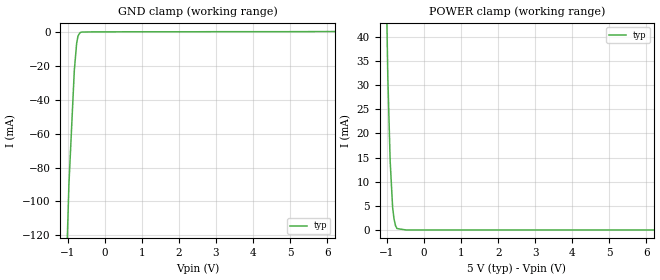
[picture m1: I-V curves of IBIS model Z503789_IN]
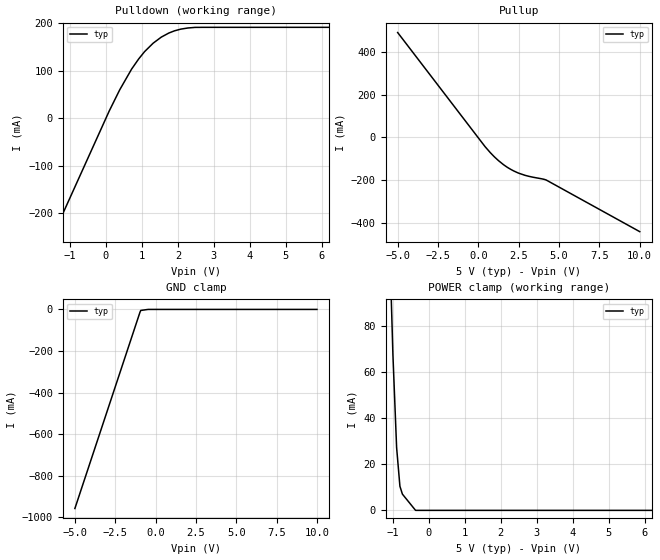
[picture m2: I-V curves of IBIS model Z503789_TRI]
| YOU ARE ONLY AUTHORIZED TO USE THIS SOFTWARE
| ACCORDING TO LICENSOR'S LICENSE RESTRICTIONS.
[IBIS Ver] 3.1
[File Name] mc74ac374n_5.ibs
[File Rev] 2.0
[Source] Measured and created by ICX Technology
[Date] Friday 7/14/00 9:08:00 AM
[Copyright]
| (C) COPYRIGHT 1993-2000
| MENTOR GRAPHICS CORPORATION
| ICX STANDARD LIBRARY, ICX PROJECT MODELING,
| ICX CUSTOM MODELING, ICX VENDOR MODEL
| ALL RIGHTS RESERVED.
| THE FOLLOWING ARE TRADEMARKS OR SERVICE MARKS OF
| MENTOR GRAPHICS CORPORATION:ICX (R), ICX STANDARD
| LIBRARY(R), ICX PROJECT MODELING(R), ICX CUSTOM
| MODELING(R), qualityIBIS(TM), MODELVIEWER(TM),
| AND MODELEDITOR(TM)
| ALL COPIES OF SOFTWARE, INCLUDING BUT NOT LIMITED TO
| ANY MODIFICATIONS, ENHANCEMENTS OR DERIVATIVE WORKS,
| MUST CONTAIN ALL MENTOR GRAPHICS CORPORATION'S
| NOTICES AND LEGENDS, INCLUDING THOSE EMBEDDED IN
| SOFTWARE AND THOSE AFFIXED TO SOFTWARE MEDIUM
| AND CONTAINER, AS RECEIVED FROM MENTOR GRAPHICS
| CORPORATION.
|  ZAP Model Builder 2.7
[Component] MC74AC374N_5
[Manufacturer] OnSemiconductor
[Package]
| variable   typ   min   max
R_pkg  .216ohms NA NA
L_pkg  5.76nH NA NA
C_pkg  1.29pF NA NA
[Pin] signal_name  model_name  R_pin  L_pin C_pin
1 _G Z503789_IN .232 9.76n 1.87p
2 Q0 Z503789_TRI .224 7.26n 1.58p
3 D0 Z503789_IN .216 5.26n 1.29p
4 D1 Z503789_IN .208 3.76n 1.0p
5 Q1 Z503789_TRI .2 2.76n .71p
6 Q2 Z503789_TRI .2 2.76n .71p
7 D2 Z503789_IN .208 3.76n 1.0p
8 D3 Z503789_IN .216 5.26n 1.29p
9 Q3 Z503789_TRI .224 7.26n 1.58p
10 GND GND .232 9.76n 1.87p
11 CLK Z503789_IN .232 9.76n 1.87p
12 Q4 Z503789_TRI .224 7.26n 1.58p
13 D4 Z503789_IN .216 5.26n 1.29p
14 D5 Z503789_IN .208 3.76n 1.0p
15 Q5 Z503789_TRI .2 2.76n .71p
16 Q6 Z503789_TRI .2 2.76n .71p
17 D6 Z503789_IN .208 3.76n 1.0p
18 D7 Z503789_IN .216 5.26n 1.29p
19 Q7 Z503789_TRI .224 7.26n 1.58p
20 VCC POWER .232 9.76n 1.87p
| Models and submodels in the file (2): Z503789_IN (Input), Z503789_TRI (3-state)
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| (C) COPYRIGHT 1993-2000
| MENTOR GRAPHICS CORPORATION
| ICX STANDARD LIBRARY, ICX PROJECT MODELING,
| ICX CUSTOM MODELING, ICX VENDOR MODEL
| ALL RIGHTS RESERVED.
| THE FOLLOWING ARE TRADEMARKS OR SERVICE MARKS OF
| MENTOR GRAPHICS CORPORATION:ICX (R), ICX STANDARD
| LIBRARY(R), ICX PROJECT MODELING(R), ICX CUSTOM
| MODELING(R), qualityIBIS(TM), MODELVIEWER(TM),
| AND MODELEDITOR(TM)
| ALL COPIES OF SOFTWARE, INCLUDING BUT NOT LIMITED TO
| ANY MODIFICATIONS, ENHANCEMENTS OR DERIVATIVE WORKS,
| MUST CONTAIN ALL MENTOR GRAPHICS CORPORATION'S
| NOTICES AND LEGENDS, INCLUDING THOSE EMBEDDED IN
| SOFTWARE AND THOSE AFFIXED TO SOFTWARE MEDIUM
| AND CONTAINER, AS RECEIVED FROM MENTOR GRAPHICS
| CORPORATION.
| Model Application Version 1.89 2/18/99.
[Model] Z503789_IN
Model_type Input
Vinl = 1.500V
Vinh = 3.500V
C_comp 4.000pF NA NA
| variable typ   min   max
[Voltage Range] 5.000V NA NA
[GND Clamp Reference] 0.000V NA NA
[POWER Clamp Reference] 5.000V NA NA
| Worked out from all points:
|   GND clamp passes 1 mA (typ) near -0.69 V on its own axis
|   POWER clamp passes 1 mA (typ) near -0.77 V on its own axis
[GND Clamp]
-5V       -3.904A    NA         NA
-1.039V   -139.7mA   NA         NA
-971.2mV  -89.95mA   NA         NA
-825mV    -22.41mA   NA         NA
-763.2mV  -6.723mA   NA         NA
-729.3mV  -2.567mA   NA         NA
-667.9mV  -263.2uA   NA         NA
-314mV    182.5uA    NA         NA
10V       655.9uA    NA         NA
[POWER Clamp]
-5V       2.931A     NA         NA
-1.445V   283.4mA    NA         NA
-1.128V   98.5mA     NA         NA
-979mV    31.68mA    NA         NA
-916mV    14.29mA    NA         NA
-849mV    4.639mA    NA         NA
-811mV    2.256mA    NA         NA
-770mV    860.3uA    NA         NA
-732mV    295.3uA    NA         NA
-488mV    0A         NA         NA
10V       0A         NA         NA
| (C) COPYRIGHT 1993-2000
| MENTOR GRAPHICS CORPORATION
| ICX STANDARD LIBRARY, ICX PROJECT MODELING,
| ICX CUSTOM MODELING, ICX VENDOR MODEL
| ALL RIGHTS RESERVED.
| THE FOLLOWING ARE TRADEMARKS OR SERVICE MARKS OF
| MENTOR GRAPHICS CORPORATION:ICX (R), ICX STANDARD
| LIBRARY(R), ICX PROJECT MODELING(R), ICX CUSTOM
| MODELING(R), qualityIBIS(TM), MODELVIEWER(TM),
| AND MODELEDITOR(TM)
| ALL COPIES OF SOFTWARE, INCLUDING BUT NOT LIMITED TO
| ANY MODIFICATIONS, ENHANCEMENTS OR DERIVATIVE WORKS,
| MUST CONTAIN ALL MENTOR GRAPHICS CORPORATION'S
| NOTICES AND LEGENDS, INCLUDING THOSE EMBEDDED IN
| SOFTWARE AND THOSE AFFIXED TO SOFTWARE MEDIUM
| AND CONTAINER, AS RECEIVED FROM MENTOR GRAPHICS
| CORPORATION.
| Model Application Version 1.89 2/18/99.
[Model] Z503789_TRI
Model_type 3-state
Vref=0.000V
Rref=500.0ohms
Cref=50.00pF
Vmeas=2.500V
C_comp 8.000pF NA NA
| variable typ   min   max
[Voltage Range] 5.000V NA NA
[POWER Clamp Reference] 5.000V NA NA
[Pullup Reference] 5.000V NA NA
[Pulldown Reference] 0.000V NA NA
[GND Clamp Reference] 0.000V NA NA
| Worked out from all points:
|   slope of the pulldown table from 0 to 0.75 V, typ, clamps not added: 6.98 ohm
|   slope of the pullup table from 0 to 0.75 V, typ, clamps not added: 10.8 ohm
[GND Clamp]
-5V       -958.5mA   NA         NA
-962.1mV  -12.66mA   NA         NA
-917.5mV  -4.933mA   NA         NA
-458.8mV  0A         NA         NA
10V       0A         NA         NA
[Pulldown]
-5V       -837.2mA   NA         NA
88.42mV   15.25mA    NA         NA
381.8mV   60.1mA     NA         NA
712.9mV   103.8mA    NA         NA
909.9mV   125.2mA    NA         NA
1.074V    140.6mA    NA         NA
1.313V    158.4mA    NA         NA
1.538V    171.1mA    NA         NA
1.904V    184.3mA    NA         NA
2.08V     187.9mA    NA         NA
2.495V    191.6mA    NA         NA
10V       191.7mA    NA         NA
[Pullup]
-5V       489.1mA    NA         NA
415mV     -43.1mA    NA         NA
1.245V    -108.2mA   NA         NA
1.788V    -139.3mA   NA         NA
2.422V    -164.5mA   NA         NA
3.124V    -181.5mA   NA         NA
4.203V    -198.8mA   NA         NA
10V       -439.7mA   NA         NA
[POWER Clamp]
-5V       2.622A     NA         NA
-1.152V   150.5mA    NA         NA
-996mV    67.52mA    NA         NA
-893mV    27.24mA    NA         NA
-801mV    10.43mA    NA         NA
-732mV    7.026mA    NA         NA
-366mV    0A         NA         NA
10V       0A         NA         NA
[Ramp]
| variable typ min max
dV/dt_r 2.956/630.3p NA NA
dV/dt_f 2.956/665.7p NA NA
R_load = 500.0Ohms
